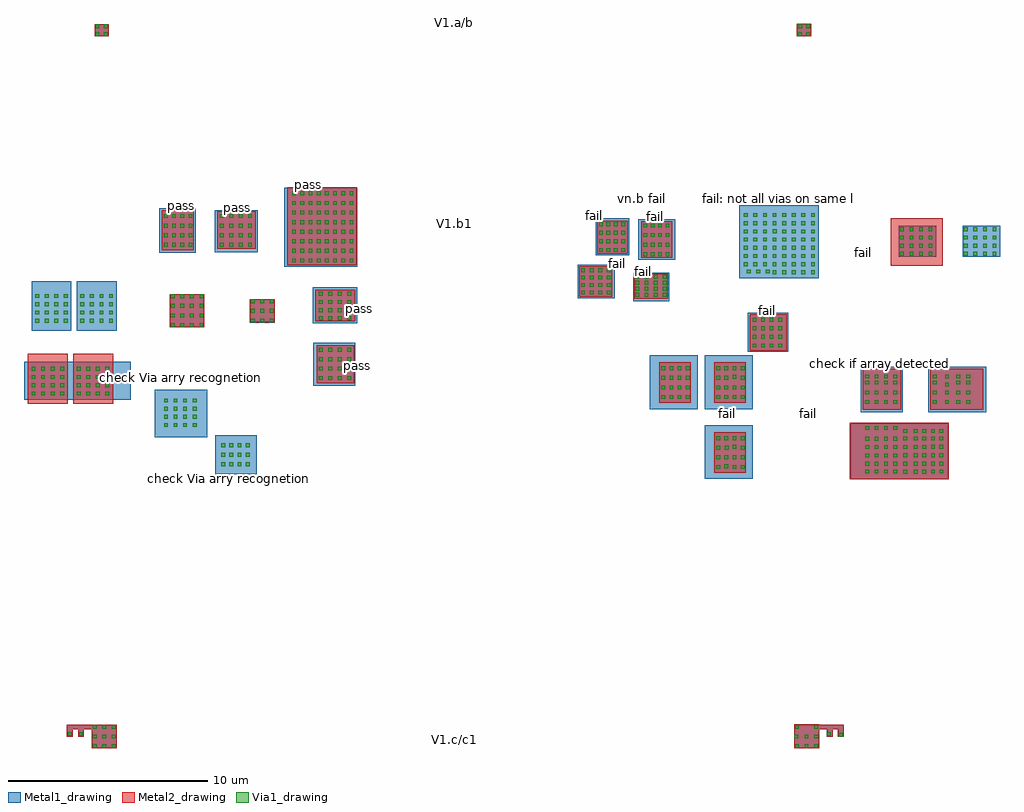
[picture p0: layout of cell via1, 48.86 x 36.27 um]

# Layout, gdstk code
import gdstk
lib = gdstk.Library(unit=1e-6, precision=1e-09)
def R(c, l, rs):  # rectangles x0, y0, x1, y1
    for r in rs: c.add(gdstk.rectangle(r[:2], r[2:], *l))
def A(c, l, x, y, w, h, nx, ny, dx, dy):  # array of equal rectangles
    R(c, l, [(x+i*dx, y+j*dy, x+i*dx+w, y+j*dy+h) for i in range(nx) for j in range(ny)])
def P(c, l, *ps):  # polygons
    for p in ps: c.add(gdstk.Polygon(p, *l))
Metal1_drawing = (8, 0)
Metal2_drawing = (10, 0)
Via1_drawing = (19, 0)

via1 = lib.new_cell('via1')
R(via1, Metal1_drawing, [(19.821,-24.496,24.717,-21.702), (12.508,-24.489,14.912,-21.793), (-11.999,-24.247,-9.901,-22.299), (-15.014,-22.399,-12.402,-20.018), (20.32,-21.142,22.427,-18.886), (23.704,-21.142,26.614,-18.886), (9.763,-20.989,12.167,-18.293), (12.508,-20.989,14.912,-18.293), (-21.564,-20.526,-16.221,-18.633), (-7.086,-19.826,-4.973,-17.676), (14.673,-18.122,16.702,-16.171), (-14.267,-16.891,-12.537,-15.241), (-7.102,-16.703,-4.882,-14.887), (-10.26,-16.661,-9.01,-15.491), (8.931,-15.593,10.737,-14.166), (6.155,-15.455,8.008,-13.769), (14.253,-14.45,18.22,-10.785), (-8.536,-13.872,-4.871,-9.905), (9.185,-13.517,11.046,-11.497), (22.224,-13.366,24.098,-11.82), (25.424,-13.366,27.298,-11.82), (7.052,-13.296,8.738,-11.443), (-14.794,-13.156,-12.978,-10.936), (-12.005,-13.14,-9.855,-11.027), (-18.03,-2.34,-17.33,-1.72), (17.13,-2.34,17.84,-1.705)])
P(via1, Metal1_drawing, [(17,-37.97),(17,-36.805),(19.47,-36.805),(19.47,-37.395),(19.18,-37.395),(19.18,-37.02),(18.915,-37.02),(18.915,-37.4),(18.63,-37.4),(18.63,-37.02),(18.24,-37.02),(18.24,-37.97)],
  [(-18.17,-37.97),(-18.17,-37.02),(-18.57,-37.02),(-18.57,-37.4),(-18.86,-37.4),(-18.86,-37.02),(-19.125,-37.02),(-19.125,-37.4),(-19.415,-37.4),(-19.415,-36.8),(-16.92,-36.8),(-16.92,-37.97)])
R(via1, Metal2_drawing, [(-18.17,-37.965,-16.92,-36.805), (16.99,-37.965,18.24,-36.76), (19.768,-24.516,24.729,-21.68), (12.993,-24.172,14.573,-22.15), (20.431,-21.025,22.342,-18.977), (23.815,-21.025,26.455,-18.977), (10.248,-20.672,11.828,-18.65), (12.993,-20.672,14.573,-18.65), (-6.914,-19.708,-5.036,-17.803), (14.772,-18.066,16.617,-16.235), (-14.267,-16.886,-12.537,-15.246), (-10.26,-16.656,-9.01,-15.496), (-6.995,-16.604,-4.973,-15.024), (8.986,-15.477,10.672,-14.222), (6.227,-15.374,7.894,-13.846), (21.828,-13.827,24.44,-11.446), (-8.386,-13.802,-4.894,-9.893), (9.331,-13.412,10.894,-11.578), (7.129,-13.224,8.657,-11.557), (-14.657,-13.049,-13.077,-11.027), (-11.878,-12.968,-9.973,-11.09), (-18.03,-2.335,-17.33,-1.725), (17.13,-2.335,17.84,-1.71)])
P(via1, Metal2_drawing, [(18.64,-37.4),(18.64,-37.02),(18.24,-37.02),(18.24,-36.805),(19.485,-36.805),(19.485,-37.4),(19.195,-37.4),(19.195,-37.02),(18.93,-37.02),(18.93,-37.4)],
  [(-19.415,-37.4),(-19.415,-36.805),(-18.17,-36.805),(-18.17,-37.02),(-18.57,-37.02),(-18.57,-37.4),(-18.86,-37.4),(-18.86,-37.02),(-19.125,-37.02),(-19.125,-37.4)])
A(via1, Via1_drawing, -18.12, -37.96, 0.19, 0.19, 3, 3, 0.48, 0.48)
A(via1, Via1_drawing, 17.04, -37.96, 0.19, 0.19, 3, 1, 0.48, 0)
A(via1, Via1_drawing, -11.689, -23.854, 0.19, 0.19, 4, 3, 0.41, 0.48)
A(via1, Via1_drawing, 22.454, -23.822, 0.19, 0.19, 1, 4, 0, 0.42)
A(via1, Via1_drawing, 22.984, -23.822, 0.19, 0.19, 1, 4, 0, 0.42)
A(via1, Via1_drawing, 23.404, -23.822, 0.19, 0.19, 1, 4, 0, 0.42)
A(via1, Via1_drawing, 23.849, -23.819, 0.19, 0.19, 1, 4, 0, 0.42)
A(via1, Via1_drawing, 24.269, -23.819, 0.19, 0.19, 1, 4, 0, 0.42)
A(via1, Via1_drawing, 13.094, -23.506, 0.19, 0.19, 4, 2, 0.41, 0.96)
A(via1, Via1_drawing, 20.55, -23.408, 0.19, 0.19, 4, 3, 0.472, 0.42)
A(via1, Via1_drawing, 20.55, -22.038, 0.19, 0.19, 4, 2, 0.472, 1.3)
A(via1, Via1_drawing, -14.554, -21.889, 0.19, 0.19, 4, 4, 0.48, 0.41)
A(via1, Via1_drawing, 10.349, -20.486, 0.19, 0.19, 1, 4, 0, 0.48)
A(via1, Via1_drawing, 10.759, -20.486, 0.19, 0.19, 1, 4, 0, 0.48)
A(via1, Via1_drawing, 11.159, -20.486, 0.19, 0.19, 1, 4, 0, 0.48)
A(via1, Via1_drawing, 11.569, -20.486, 0.19, 0.19, 1, 4, 0, 0.48)
A(via1, Via1_drawing, 13.094, -20.486, 0.19, 0.19, 4, 2, 0.41, 0.48)
A(via1, Via1_drawing, -21.184, -20.305, 0.19, 0.19, 4, 4, 0.48, 0.41)
A(via1, Via1_drawing, -18.924, -20.305, 0.19, 0.19, 4, 4, 0.48, 0.41)
A(via1, Via1_drawing, 20.55, -20.258, 0.19, 0.19, 4, 2, 0.472, 0.5)
A(via1, Via1_drawing, -6.809, -19.531, 0.19, 0.19, 4, 4, 0.48, 0.472)
A(via1, Via1_drawing, 20.55, -19.458, 0.19, 0.19, 4, 1, 0.472, 0)
A(via1, Via1_drawing, 13.094, -19.046, 0.19, 0.19, 4, 1, 0.41, 0)
A(via1, Via1_drawing, 14.908, -17.9, 0.19, 0.19, 4, 4, 0.43, 0.43)
A(via1, Via1_drawing, -14.217, -16.881, 0.19, 0.19, 4, 4, 0.48, 0.48)
A(via1, Via1_drawing, -21.003, -16.661, 0.19, 0.19, 4, 4, 0.48, 0.41)
A(via1, Via1_drawing, -18.743, -16.661, 0.19, 0.19, 4, 4, 0.48, 0.41)
A(via1, Via1_drawing, -10.21, -16.651, 0.19, 0.19, 3, 3, 0.48, 0.48)
A(via1, Via1_drawing, -6.809, -16.545, 0.19, 0.19, 4, 4, 0.48, 0.41)
A(via1, Via1_drawing, 9.046, -15.363, 0.19, 0.19, 4, 4, 0.46, 0.3)
A(via1, Via1_drawing, 6.329, -15.248, 0.19, 0.19, 4, 4, 0.43, 0.372)
A(via1, Via1_drawing, 15.917, -14.243, 0.19, 0.19, 5, 1, 0.48, 0)
A(via1, Via1_drawing, 14.618, -14.198, 0.19, 0.19, 3, 1, 0.48, 0)
A(via1, Via1_drawing, 14.477, -13.833, 0.19, 0.19, 8, 2, 0.48, 0.41)
A(via1, Via1_drawing, -8.138, -13.648, 0.19, 0.19, 8, 8, 0.41, 0.48)
A(via1, Via1_drawing, 9.441, -13.337, 0.19, 0.19, 4, 4, 0.372, 0.48)
A(via1, Via1_drawing, 22.288, -13.317, 0.19, 0.19, 4, 4, 0.48, 0.41)
A(via1, Via1_drawing, 25.488, -13.317, 0.19, 0.19, 4, 4, 0.48, 0.41)
A(via1, Via1_drawing, 7.225, -13.122, 0.19, 0.19, 4, 4, 0.372, 0.43)
A(via1, Via1_drawing, 14.477, -13.013, 0.19, 0.19, 3, 2, 0.48, 0.82)
A(via1, Via1_drawing, 16.397, -13.013, 0.19, 0.19, 4, 2, 0.48, 0.82)
A(via1, Via1_drawing, -14.556, -12.863, 0.19, 0.19, 4, 4, 0.41, 0.48)
A(via1, Via1_drawing, -11.756, -12.863, 0.19, 0.19, 4, 4, 0.472, 0.48)
A(via1, Via1_drawing, 14.477, -12.603, 0.19, 0.19, 8, 2, 0.48, 0.82)
A(via1, Via1_drawing, 14.477, -11.373, 0.19, 0.19, 8, 1, 0.48, 0)
R(via1, Via1_drawing, [(17.005,-37.48,17.195,-37.29), (17.52,-37.48,17.71,-37.29), (18,-37.48,18.19,-37.29), (19.23,-37.39,19.42,-37.2), (-19.365,-37.35,-19.175,-37.16), (-18.81,-37.35,-18.62,-37.16), (18.635,-37.35,18.825,-37.16), (17.04,-37,17.23,-36.81), (18,-37,18.19,-36.81), (22.457,-24.223,22.647,-24.033), (22.987,-24.22,23.177,-24.03), (23.407,-24.22,23.597,-24.03), (20.55,-24.218,20.74,-24.028), (20.55,-24.218,20.74,-24.028), (21.022,-24.218,21.212,-24.028), (21.022,-24.218,21.212,-24.028), (21.494,-24.218,21.684,-24.028), (21.494,-24.218,21.684,-24.028), (21.966,-24.218,22.156,-24.028), (21.966,-24.218,22.156,-24.028), (23.852,-24.217,24.042,-24.027), (24.272,-24.217,24.462,-24.027), (13.094,-23.986,13.284,-23.796), (13.914,-23.986,14.104,-23.796), (14.324,-23.986,14.514,-23.796), (13.504,-23.946,13.694,-23.756), (20.55,-23.828,20.74,-23.638), (20.55,-23.828,20.74,-23.638), (21.022,-23.828,21.212,-23.638), (21.022,-23.828,21.212,-23.638), (21.494,-23.828,21.684,-23.638), (21.494,-23.828,21.684,-23.638), (21.966,-23.828,22.156,-23.638), (21.966,-23.828,22.156,-23.638), (13.094,-23.026,13.284,-22.836), (13.524,-23.026,13.714,-22.836), (14.324,-23.026,14.514,-22.836), (13.914,-22.976,14.104,-22.786), (22.454,-22.185,22.644,-21.995), (22.984,-22.185,23.174,-21.995), (23.404,-22.185,23.594,-21.995), (23.849,-22.182,24.039,-21.992), (24.269,-22.182,24.459,-21.992), (23.934,-20.738,24.124,-20.548), (24.553,-20.738,24.743,-20.548), (25.114,-20.738,25.304,-20.548), (25.607,-20.738,25.797,-20.548), (23.934,-20.258,24.124,-20.068), (24.553,-20.258,24.743,-20.068), (25.114,-20.258,25.304,-20.068), (25.607,-20.258,25.797,-20.068), (24.553,-19.86,24.743,-19.67), (23.934,-19.758,24.124,-19.568), (25.114,-19.758,25.304,-19.568), (25.607,-19.758,25.797,-19.568), (13.094,-19.526,13.284,-19.336), (13.504,-19.526,13.694,-19.336), (14.324,-19.526,14.514,-19.336), (13.914,-19.476,14.104,-19.286), (23.934,-19.458,24.124,-19.268), (24.553,-19.458,24.743,-19.268), (25.114,-19.458,25.304,-19.268), (25.607,-19.458,25.797,-19.268), (15.911,-13.013,16.101,-12.823), (15.919,-12.186,16.109,-11.996), (-17.98,-2.33,-17.79,-2.14), (-17.57,-2.33,-17.38,-2.14), (17.19,-2.32,17.37,-2.14), (17.59,-2.31,17.78,-2.12), (-17.98,-1.92,-17.79,-1.73), (-17.57,-1.92,-17.38,-1.73), (17.2,-1.92,17.39,-1.73), (17.59,-1.92,17.79,-1.715)])
via1.add(gdstk.FlexPath([(-17.927,-14.581),(-17.927,-17.076)], 2, ends="flush", simple_path=True, layer=8, datatype=0))  # Metal1_drawing
via1.add(gdstk.FlexPath([(-20.187,-14.581),(-20.187,-17.076)], 2, ends="flush", simple_path=True, layer=8, datatype=0))  # Metal1_drawing
via1.add(gdstk.FlexPath([(-18.108,-18.225),(-18.108,-20.72)], 2, ends="flush", simple_path=True, layer=10, datatype=0))  # Metal2_drawing
via1.add(gdstk.FlexPath([(-20.368,-18.225),(-20.368,-20.72)], 2, ends="flush", simple_path=True, layer=10, datatype=0))  # Metal2_drawing
via1.add(gdstk.Label('fail', (17.699,-21.222), layer=8, texttype=0))
via1.add(gdstk.Label('fail', (20.444,-13.146), layer=8, texttype=0))
via1.add(gdstk.Label('fail', (15.645,-16.066), layer=8, texttype=0))
via1.add(gdstk.Label('fail', (10.066,-11.355), layer=8, texttype=0))
via1.add(gdstk.Label('fail', (13.675,-21.238), layer=8, texttype=0))
via1.add(gdstk.Label('FAIL', (12,5), layer=63, texttype=0))
via1.add(gdstk.Label('PASS', (-12,5), layer=63, texttype=0))
via1.add(gdstk.Label('V1.c/c1', (0,-37.51), layer=63, texttype=0))
via1.add(gdstk.Label('fail: not all vias on same line', (16.209,-10.459), layer=63, texttype=0))
via1.add(gdstk.Label('vn.b fail', (9.349,-10.459), layer=63, texttype=0))
via1.add(gdstk.Label('V1.a/b', (0,-1.645), layer=63, texttype=0))
via1.add(gdstk.Label('5.19 Via1', (0,21.585), layer=63, texttype=0))
via1.add(gdstk.Label('check if array detected', (21.27,-18.706), layer=63, texttype=0))
via1.add(gdstk.Label('fail', (9.43,-14.119), layer=63, texttype=0))
via1.add(gdstk.Label('check if array detected', (24.654,-18.706), layer=63, texttype=0))
via1.add(gdstk.Label('fail', (6.995,-11.287), layer=63, texttype=0))
via1.add(gdstk.Label('fail', (8.164,-13.712), layer=63, texttype=0))
via1.add(gdstk.Label('check Via arry recognetion', (-11.338,-24.484), layer=63, texttype=0))
via1.add(gdstk.Label('check Via arry recognetion', (-13.751,-19.43), layer=63, texttype=0))
via1.add(gdstk.Label('pass', (-4.747,-15.981), layer=63, texttype=0))
via1.add(gdstk.Label('pass', (-4.845,-18.789), layer=63, texttype=0))
via1.add(gdstk.Label('pass', (-7.304,-9.734), layer=63, texttype=0))
via1.add(gdstk.Label('pass', (-13.7,-10.801), layer=63, texttype=0))
via1.add(gdstk.Label('pass', (-10.892,-10.899), layer=63, texttype=0))
via1.add(gdstk.Label('V1.b1', (0,-11.726), layer=63, texttype=0))

lib.write_gds('via1.gds')
